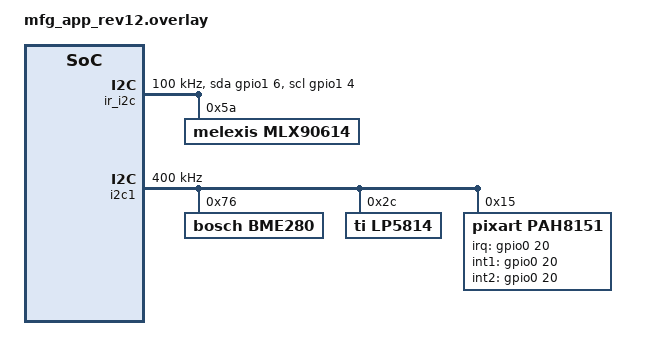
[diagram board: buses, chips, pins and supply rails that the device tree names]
/* MFG APP overlay: I2C sensors for manufacturing test.
 *
 * Defines GPIO-I2C bus for MLX90614 IR temp sensor and
 * hardware-I2C peripherals (BME280, LP5814, PAH8151).
 */
/ {
    aliases {
        ioexpander = &lp5814;
        vsm-enable = &vsm_enable;
        i2c-gpio = &ir_i2c;
    };

    ir_i2c: ir_i2c {
        compatible = "gpio-i2c-fast";
        status = "okay";
        clock-frequency = <100000>;
        cpu-frequency = <64000000>;
        #address-cells = <1>;
        #size-cells = <0>;
        scl-gpios = <&gpio1 4 (GPIO_ACTIVE_HIGH | GPIO_PULL_UP)>;
        sda-gpios = <&gpio1 6 (GPIO_ACTIVE_HIGH | GPIO_PULL_UP)>;

        mlx90614: mlx90614@5a {
            status = "okay";
            compatible = "melexis,mlx90614";
            reg = <0x5a>;
            emissivity = <65535>;
        };
    };
};

&i2c1 {
    clock-frequency = <I2C_BITRATE_FAST>;

    bme280: bme280@76 {
        compatible = "bosch,bme280";
        reg = <0x76>;
    };

    lp5814: lp5814@2c {
        compatible = "ti,lp5814";
        reg = <0x2C>;
    };

    pah8151: pah8151@15 {
        status = "okay";
        compatible = "pixart,pah8151";
        reg = <0x15>;
        irq-gpios = <&gpio0 20 GPIO_ACTIVE_HIGH>;
        int1-gpios = <&gpio0 20 GPIO_ACTIVE_HIGH>;
        int2-gpios = <&gpio0 20 GPIO_ACTIVE_HIGH>;
        int-pin = <1>;
        led-current-ir = <255>;
        led-current-red = <255>;
        led-current-green = <255>;
    };
};
